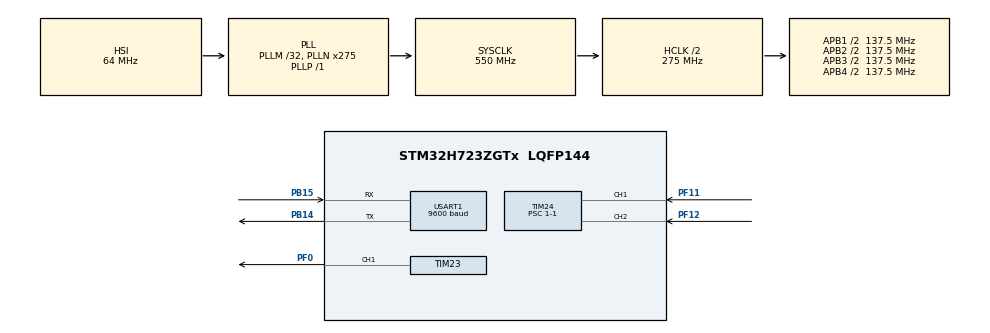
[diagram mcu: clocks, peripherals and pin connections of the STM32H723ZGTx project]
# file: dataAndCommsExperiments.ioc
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CORTEX_M7.default_mode_Activation=1
Dma.Request0=TIM24_UP
Dma.TIM24_UP.0.Direction=DMA_PERIPH_TO_MEMORY
Dma.TIM24_UP.0.EventEnable=DISABLE
Dma.TIM24_UP.0.FIFOMode=DMA_FIFOMODE_DISABLE
Dma.TIM24_UP.0.Instance=DMA1_Stream0
Dma.TIM24_UP.0.MemDataAlignment=DMA_MDATAALIGN_BYTE
Dma.TIM24_UP.0.MemInc=DMA_MINC_ENABLE
Dma.TIM24_UP.0.Mode=DMA_NORMAL
Dma.TIM24_UP.0.PeriphDataAlignment=DMA_PDATAALIGN_BYTE
Dma.TIM24_UP.0.PeriphInc=DMA_PINC_DISABLE
Dma.TIM24_UP.0.Polarity=HAL_DMAMUX_REQ_GEN_RISING
Dma.TIM24_UP.0.Priority=DMA_PRIORITY_LOW
Dma.TIM24_UP.0.RequestNumber=1
Dma.TIM24_UP.0.SignalID=NONE
Dma.TIM24_UP.0.SyncEnable=DISABLE
Dma.TIM24_UP.0.SyncPolarity=HAL_DMAMUX_SYNC_NO_EVENT
Dma.TIM24_UP.0.SyncRequestNumber=1
Dma.TIM24_UP.0.SyncSignalID=NONE
Mcu.Family=STM32H7
Mcu.Name=STM32H723ZGTx
Mcu.Package=LQFP144
NVIC.DMA1_Stream0_IRQn=true\:0\:0\:false\:false\:true\:false\:true\:true
NVIC.PriorityGroup=NVIC_PRIORITYGROUP_4
PB14.Mode=Asynchronous
PB14.Signal=USART1_TX
PB15.Mode=Asynchronous
PB15.Signal=USART1_RX
PF0.Mode=PWM Generation1 CH1
PF0.Signal=TIM23_CH1
PF11.Mode=Encoder_Interface
PF11.Signal=TIM24_CH1
PF12.Signal=S_TIM24_CH2
ProjectManager.HeapSize=0x200
ProjectManager.StackSize=0x400
ProjectManager.TargetToolchain=STM32CubeIDE
RCC.ADCFreq_Value=129000000
RCC.APB1Freq_Value=137500000
RCC.APB2Freq_Value=137500000
RCC.APB3Freq_Value=137500000
RCC.APB4Freq_Value=137500000
RCC.CortexFreq_Value=550000000
RCC.D1PPRE=RCC_APB3_DIV2
RCC.D2PPRE1=RCC_APB1_DIV2
RCC.D2PPRE2=RCC_APB2_DIV2
RCC.D3PPRE=RCC_APB4_DIV2
RCC.DIVN1=275
RCC.DIVP1=1
RCC.HCLKFreq_Value=275000000
RCC.HPRE=RCC_HCLK_DIV2
RCC.SYSCLKFreq_VALUE=550000000
RCC.SYSCLKSource=RCC_SYSCLKSOURCE_PLLCLK
RCC.USBFreq_Value=275000000
SH.S_TIM24_CH2.0=TIM24_CH2,Encoder_Interface
TIM23.Channel-PWM\ Generation1\ CH1=TIM_CHANNEL_1
TIM24.EncoderMode=TIM_ENCODERMODE_TI12
TIM24.Period=4294967296-1
TIM24.Prescaler=1-1
USART1.BaudRate=9600
USART1.VirtualMode-Asynchronous=VM_ASYNC
VP_MEMORYMAP_VS_MEMORYMAP.Mode=CurAppReg
board=custom

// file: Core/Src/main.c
/* USER CODE BEGIN Header */
/**
  ******************************************************************************
  * @file           : main.c
  * @brief          : Main program body
  ******************************************************************************
  * @attention
  *
  * Copyright (c) 2025 STMicroelectronics.
  * All rights reserved.
  *
  * This software is licensed under terms that can be found in the LICENSE file
  * in the root directory of this software component.
  * If no LICENSE file comes with this software, it is provided AS-IS.
  *
  ******************************************************************************
  */
/* USER CODE END Header */
#include "main.h"

/* USER CODE BEGIN Includes */
#include "stdio.h"
#include "qol.h"

/* USER CODE END Includes */

/* USER CODE BEGIN PD */
//STM32H7
#define ENCODER_ACCURACY 360 * 5 * 5 * 5
#define AVG_AMT 200
/* USER CODE END PD */

TIM_HandleTypeDef htim23;
TIM_HandleTypeDef htim24;
DMA_HandleTypeDef hdma_tim24_up;

UART_HandleTypeDef huart1;

/* USER CODE BEGIN PV */
uint32_t prevEncode = 0;
uint32_t prevTime = 0;
uint32_t curEncode = 0;
uint32_t curTime = 0;
int32_t encodeDif = 0;
int32_t timeDif = 0;
float avgSpeedSet[AVG_AMT];
float avgSpeed = 0;
int curAmt = 0;
/* USER CODE END PV */

void SystemClock_Config(void);
static void MPU_Config(void);
static void MX_GPIO_Init(void);
static void MX_DMA_Init(void);
static void MX_TIM24_Init(void);
static void MX_USART1_UART_Init(void);
static void MX_TIM23_Init(void);

int main(void)
{

  /* MPU Configuration--------------------------------------------------------*/
  MPU_Config();

  /* MCU Configuration--------------------------------------------------------*/

  /* Reset of all peripherals, Initializes the Flash interface and the Systick. */
  HAL_Init();

  /* Configure the system clock */
  SystemClock_Config();

  /* Initialize all configured peripherals */
  MX_GPIO_Init();
  MX_DMA_Init();
  MX_TIM24_Init();
  MX_USART1_UART_Init();
  MX_TIM23_Init();
  /* USER CODE BEGIN 2 */
  QOL_dwtInit();
  HAL_TIM_Encoder_Start(&htim24, TIM_CHANNEL_ALL);
  /* USER CODE END 2 */

  /* Infinite loop */
  /* USER CODE BEGIN WHILE */
  while (1)
  {
//	  HAL_IncTick()
	  curEncode = __HAL_TIM_GET_COUNTER(&htim24);
	  curTime = DWT->CYCCNT;
	  DWT->CYCCNT = 0;
	  encodeDif = curEncode - prevEncode;
	  timeDif = curTime;
//	  avgSpeed = (float)encodeDif/((float)timeDif/1000000);
	  avgSpeedSet[curAmt] = (float)encodeDif/((float)timeDif/1000000.0);
	  for(int i = 0; i < AVG_AMT; i++) {
		  avgSpeed += avgSpeedSet[i] / AVG_AMT;
	  }
	  printf("encoder: %.4f, time: %lu, encoder: %lu\n", avgSpeed, timeDif, encodeDif);
//	  printf("encoder: %.4f\n", avgSpeed);
	  avgSpeed = 0;
	  prevEncode = curEncode;
	  prevTime = curTime;
	  if(curAmt < AVG_AMT) {
		  curAmt++;
	  } else {
		  curAmt = 0;
	  }
	  HAL_Delay(100);
    /* USER CODE END WHILE */

  }
}

void SystemClock_Config(void)
{
  RCC_OscInitTypeDef RCC_OscInitStruct = {0};
  RCC_ClkInitTypeDef RCC_ClkInitStruct = {0};

  /** Supply configuration update enable
  */
  HAL_PWREx_ConfigSupply(PWR_LDO_SUPPLY);

  /** Configure the main internal regulator output voltage
  */
  __HAL_PWR_VOLTAGESCALING_CONFIG(PWR_REGULATOR_VOLTAGE_SCALE0);

  while(!__HAL_PWR_GET_FLAG(PWR_FLAG_VOSRDY)) {}

  /** Initializes the RCC Oscillators according to the specified parameters
  * in the RCC_OscInitTypeDef structure.
  */
  RCC_OscInitStruct.OscillatorType = RCC_OSCILLATORTYPE_HSI;
  RCC_OscInitStruct.HSIState = RCC_HSI_DIV1;
  RCC_OscInitStruct.HSICalibrationValue = 64;
  RCC_OscInitStruct.PLL.PLLState = RCC_PLL_ON;
  RCC_OscInitStruct.PLL.PLLSource = RCC_PLLSOURCE_HSI;
  RCC_OscInitStruct.PLL.PLLM = 32;
  RCC_OscInitStruct.PLL.PLLN = 275;
  RCC_OscInitStruct.PLL.PLLP = 1;
  RCC_OscInitStruct.PLL.PLLQ = 2;
  RCC_OscInitStruct.PLL.PLLR = 2;
  RCC_OscInitStruct.PLL.PLLRGE = RCC_PLL1VCIRANGE_1;
  RCC_OscInitStruct.PLL.PLLVCOSEL = RCC_PLL1VCOWIDE;
  RCC_OscInitStruct.PLL.PLLFRACN = 0;
  if (HAL_RCC_OscConfig(&RCC_OscInitStruct) != HAL_OK)
  {
    Error_Handler();
  }

  /** Initializes the CPU, AHB and APB buses clocks
  */
  RCC_ClkInitStruct.ClockType = RCC_CLOCKTYPE_HCLK|RCC_CLOCKTYPE_SYSCLK
                              |RCC_CLOCKTYPE_PCLK1|RCC_CLOCKTYPE_PCLK2
                              |RCC_CLOCKTYPE_D3PCLK1|RCC_CLOCKTYPE_D1PCLK1;
  RCC_ClkInitStruct.SYSCLKSource = RCC_SYSCLKSOURCE_PLLCLK;
  RCC_ClkInitStruct.SYSCLKDivider = RCC_SYSCLK_DIV1;
  RCC_ClkInitStruct.AHBCLKDivider = RCC_HCLK_DIV2;
  RCC_ClkInitStruct.APB3CLKDivider = RCC_APB3_DIV2;
  RCC_ClkInitStruct.APB1CLKDivider = RCC_APB1_DIV2;
  RCC_ClkInitStruct.APB2CLKDivider = RCC_APB2_DIV2;
  RCC_ClkInitStruct.APB4CLKDivider = RCC_APB4_DIV2;

  if (HAL_RCC_ClockConfig(&RCC_ClkInitStruct, FLASH_LATENCY_3) != HAL_OK)
  {
    Error_Handler();
  }
}

static void MX_TIM23_Init(void)
{

  TIM_MasterConfigTypeDef sMasterConfig = {0};
  TIM_OC_InitTypeDef sConfigOC = {0};

  htim23.Instance = TIM23;
  htim23.Init.Prescaler = 0;
  htim23.Init.CounterMode = TIM_COUNTERMODE_UP;
  htim23.Init.Period = 4294967295;
  htim23.Init.ClockDivision = TIM_CLOCKDIVISION_DIV1;
  htim23.Init.AutoReloadPreload = TIM_AUTORELOAD_PRELOAD_DISABLE;
  if (HAL_TIM_PWM_Init(&htim23) != HAL_OK)
  {
    Error_Handler();
  }
  sMasterConfig.MasterOutputTrigger = TIM_TRGO_RESET;
  sMasterConfig.MasterSlaveMode = TIM_MASTERSLAVEMODE_DISABLE;
  if (HAL_TIMEx_MasterConfigSynchronization(&htim23, &sMasterConfig) != HAL_OK)
  {
    Error_Handler();
  }
  sConfigOC.OCMode = TIM_OCMODE_PWM1;
  sConfigOC.Pulse = 0;
  sConfigOC.OCPolarity = TIM_OCPOLARITY_HIGH;
  sConfigOC.OCFastMode = TIM_OCFAST_DISABLE;
  if (HAL_TIM_PWM_ConfigChannel(&htim23, &sConfigOC, TIM_CHANNEL_1) != HAL_OK)
  {
    Error_Handler();
  }
  HAL_TIM_MspPostInit(&htim23);

}

static void MX_TIM24_Init(void)
{

  TIM_Encoder_InitTypeDef sConfig = {0};
  TIM_MasterConfigTypeDef sMasterConfig = {0};

  htim24.Instance = TIM24;
  htim24.Init.Prescaler = 1-1;
  htim24.Init.CounterMode = TIM_COUNTERMODE_UP;
  htim24.Init.Period = 4294967296-1;
  htim24.Init.ClockDivision = TIM_CLOCKDIVISION_DIV1;
  htim24.Init.AutoReloadPreload = TIM_AUTORELOAD_PRELOAD_DISABLE;
  sConfig.EncoderMode = TIM_ENCODERMODE_TI12;
  sConfig.IC1Polarity = TIM_ICPOLARITY_RISING;
  sConfig.IC1Selection = TIM_ICSELECTION_DIRECTTI;
  sConfig.IC1Prescaler = TIM_ICPSC_DIV1;
  sConfig.IC1Filter = 0;
  sConfig.IC2Polarity = TIM_ICPOLARITY_RISING;
  sConfig.IC2Selection = TIM_ICSELECTION_DIRECTTI;
  sConfig.IC2Prescaler = TIM_ICPSC_DIV1;
  sConfig.IC2Filter = 0;
  if (HAL_TIM_Encoder_Init(&htim24, &sConfig) != HAL_OK)
  {
    Error_Handler();
  }
  sMasterConfig.MasterOutputTrigger = TIM_TRGO_RESET;
  sMasterConfig.MasterSlaveMode = TIM_MASTERSLAVEMODE_DISABLE;
  if (HAL_TIMEx_MasterConfigSynchronization(&htim24, &sMasterConfig) != HAL_OK)
  {
    Error_Handler();
  }

}

static void MX_USART1_UART_Init(void)
{

  huart1.Instance = USART1;
  huart1.Init.BaudRate = 9600;
  huart1.Init.WordLength = UART_WORDLENGTH_8B;
  huart1.Init.StopBits = UART_STOPBITS_1;
  huart1.Init.Parity = UART_PARITY_NONE;
  huart1.Init.Mode = UART_MODE_TX_RX;
  huart1.Init.HwFlowCtl = UART_HWCONTROL_NONE;
  huart1.Init.OverSampling = UART_OVERSAMPLING_16;
  huart1.Init.OneBitSampling = UART_ONE_BIT_SAMPLE_DISABLE;
  huart1.Init.ClockPrescaler = UART_PRESCALER_DIV1;
  huart1.AdvancedInit.AdvFeatureInit = UART_ADVFEATURE_NO_INIT;
  if (HAL_UART_Init(&huart1) != HAL_OK)
  {
    Error_Handler();
  }
  if (HAL_UARTEx_SetTxFifoThreshold(&huart1, UART_TXFIFO_THRESHOLD_1_8) != HAL_OK)
  {
    Error_Handler();
  }
  if (HAL_UARTEx_SetRxFifoThreshold(&huart1, UART_RXFIFO_THRESHOLD_1_8) != HAL_OK)
  {
    Error_Handler();
  }
  if (HAL_UARTEx_DisableFifoMode(&huart1) != HAL_OK)
  {
    Error_Handler();
  }

}

static void MX_DMA_Init(void)
{

  /* DMA controller clock enable */
  __HAL_RCC_DMA1_CLK_ENABLE();

  /* DMA interrupt init */
  /* DMA1_Stream0_IRQn interrupt configuration */
  HAL_NVIC_SetPriority(DMA1_Stream0_IRQn, 0, 0);
  HAL_NVIC_EnableIRQ(DMA1_Stream0_IRQn);

}

static void MX_GPIO_Init(void)
{

  /* GPIO Ports Clock Enable */
  __HAL_RCC_GPIOF_CLK_ENABLE();
  __HAL_RCC_GPIOB_CLK_ENABLE();

}

/* USER CODE BEGIN 4 */
int _write(int fd, char* ptr, int len) {
  HAL_StatusTypeDef hstatus;

  if (fd == 1 || fd == 2) {
    hstatus = HAL_UART_Transmit(&huart1, (uint8_t *) ptr, len, HAL_MAX_DELAY);
    if (hstatus == HAL_OK)
      return len;
    else
      return -1;
  }
  return -1;
}
/* USER CODE END 4 */

 /* MPU Configuration */

void MPU_Config(void)
{
  MPU_Region_InitTypeDef MPU_InitStruct = {0};

  /* Disables the MPU */
  HAL_MPU_Disable();

  /** Initializes and configures the Region and the memory to be protected
  */
  MPU_InitStruct.Enable = MPU_REGION_ENABLE;
  MPU_InitStruct.Number = MPU_REGION_NUMBER0;
  MPU_InitStruct.BaseAddress = 0x0;
  MPU_InitStruct.Size = MPU_REGION_SIZE_4GB;
  MPU_InitStruct.SubRegionDisable = 0x87;
  MPU_InitStruct.TypeExtField = MPU_TEX_LEVEL0;
  MPU_InitStruct.AccessPermission = MPU_REGION_NO_ACCESS;
  MPU_InitStruct.DisableExec = MPU_INSTRUCTION_ACCESS_DISABLE;
  MPU_InitStruct.IsShareable = MPU_ACCESS_SHAREABLE;
  MPU_InitStruct.IsCacheable = MPU_ACCESS_NOT_CACHEABLE;
  MPU_InitStruct.IsBufferable = MPU_ACCESS_NOT_BUFFERABLE;

  HAL_MPU_ConfigRegion(&MPU_InitStruct);
  /* Enables the MPU */
  HAL_MPU_Enable(MPU_PRIVILEGED_DEFAULT);

}

void Error_Handler(void)
{
  __disable_irq();
  while (1)
  {
  }
}
